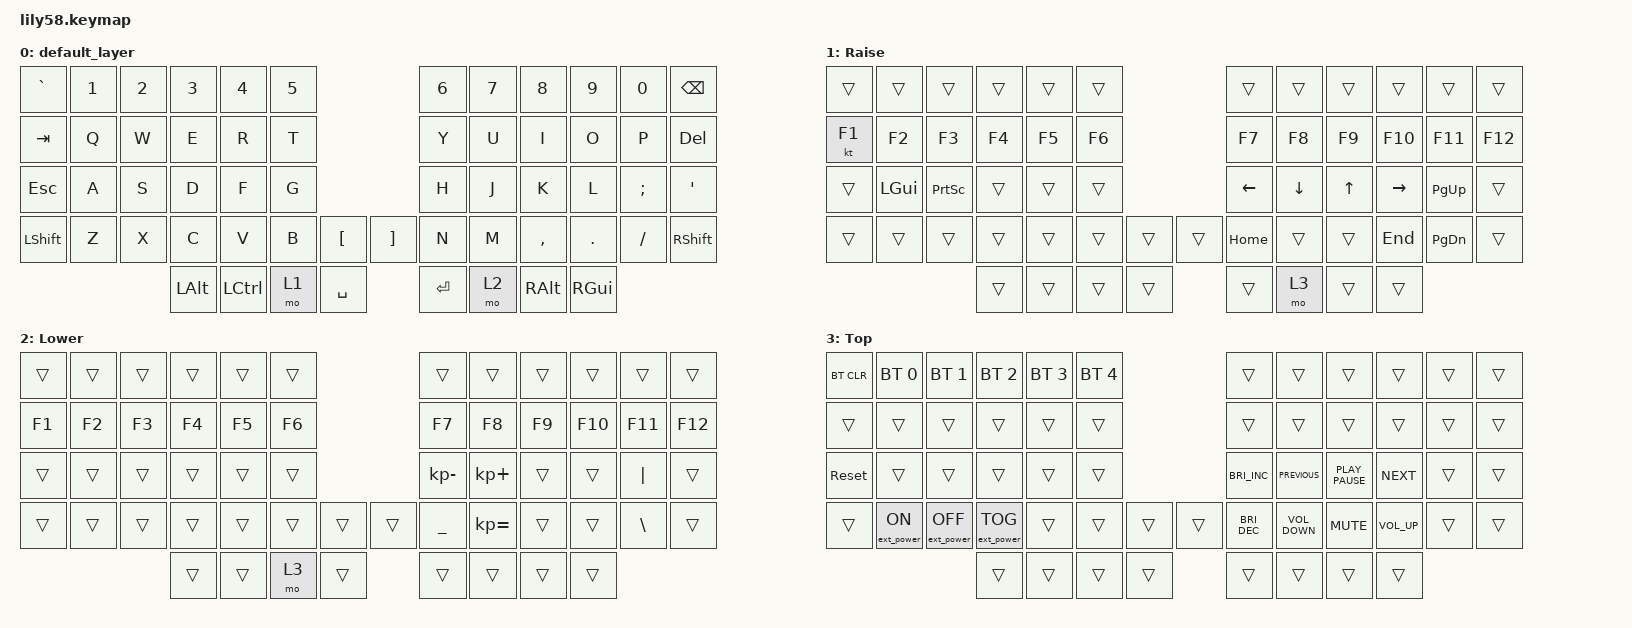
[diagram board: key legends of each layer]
/*
 * Copyright (c) 2020 The ZMK Contributors
 *
 * SPDX-License-Identifier: MIT
 */

#include <behaviors.dtsi>
#include <dt-bindings/zmk/bt.h>
#include <dt-bindings/zmk/ext_power.h>
#include <dt-bindings/zmk/keys.h>
#include <dt-bindings/zmk/keys.h>

/ {
    keymap {
        compatible = "zmk,keymap";

        default_layer {
            // ------------------------------------------------------------------------------------------------------------
            // |  ESC  |  1  |  2  |  3   |  4   |  5   |                   |  6   |  7    |  8    |  9   |   0   |   `   |
            // |  TAB  |  Q  |  W  |  E   |  R   |  T   |                   |  Y   |  U    |  I    |  O   |   P   |   -   |
            // |  CTRL |  A  |  S  |  D   |  F   |  G   |                   |  H   |  J    |  K    |  L   |   ;   |   '   |
            // | SHIFT |  Z  |  X  |  C   |  V   |  B   |   "["  |  |  "]"  |  N   |  M    |  ,    |  .   |   /   | SHIFT |
            //                     | ALT  | GUI  | LOWER|  SPACE |  | ENTER | RAISE| BSPC  | GUI   |

            bindings = <
&kp GRAVE  &kp N1  &kp N2  &kp N3    &kp N4     &kp N5                          &kp N6         &kp N7  &kp N8     &kp N9   &kp N0    &kp BSPC
&kp TAB    &kp Q   &kp W   &kp E     &kp R      &kp T                           &kp Y          &kp U   &kp I      &kp O    &kp P     &kp DEL
&kp ESC    &kp A   &kp S   &kp D     &kp F      &kp G                           &kp H          &kp J   &kp K      &kp L    &kp SEMI  &kp SQT
&kp LSHFT  &kp Z   &kp X   &kp C     &kp V      &kp B   &kp LBKT     &kp RBKT   &kp N          &kp M   &kp COMMA  &kp DOT  &kp FSLH  &kp RSHFT
                           &kp LALT  &kp LCTRL  &mo 1   &kp SPACE    &kp ENTER  &mo 2          &kp RIGHT_ALT &kp RGUI
            >;
        };

        Raise {
            bindings = <
&trans  &trans        &trans           &trans  &trans  &trans                    &trans    &trans    &trans  &trans     &trans     &trans
&kt F1  &kp F2        &kp F3           &kp F4  &kp F5  &kp F6                    &kp F7    &kp F8    &kp F9  &kp F10    &kp F11    &kp F12
&trans  &kp LEFT_GUI  &kp PRINTSCREEN  &trans  &trans  &trans                    &kp LEFT  &kp DOWN  &kp UP  &kp RIGHT  &kp PG_UP  &trans
&trans  &trans        &trans           &trans  &trans  &trans  &trans    &trans  &kp HOME  &trans    &trans  &kp END    &kp PG_DN  &trans
                                       &trans  &trans  &trans  &trans    &trans  &mo 3     &trans    &trans
            >;
        };

        Lower {
            bindings = <
&trans  &trans  &trans  &trans  &trans  &trans                    &trans        &trans        &trans  &trans   &trans         &trans
&kp F1  &kp F2  &kp F3  &kp F4  &kp F5  &kp F6                    &kp F7        &kp F8        &kp F9  &kp F10  &kp F11        &kp F12
&trans  &trans  &trans  &trans  &trans  &trans                    &kp KP_MINUS  &kp KP_PLUS   &trans  &trans   &kp PIPE       &trans
&trans  &trans  &trans  &trans  &trans  &trans  &trans    &trans  &kp UNDER     &kp KP_EQUAL  &trans  &trans   &kp BACKSLASH  &trans
                        &trans  &trans  &mo 3   &trans    &trans  &trans        &trans        &trans
            >;
        };

        Top {
            bindings = <
&bt BT_CLR  &bt BT_SEL 0      &bt BT_SEL 1       &bt BT_SEL 2       &bt BT_SEL 3  &bt BT_SEL 4                    &trans                &trans             &trans            &trans           &trans  &trans
&trans      &trans            &trans             &trans             &trans        &trans                          &trans                &trans             &trans            &trans           &trans  &trans
&sys_reset  &trans            &trans             &trans             &trans        &trans                          &kp C_BRIGHTNESS_INC  &kp K_PREVIOUS     &kp K_PLAY_PAUSE  &kp K_NEXT       &trans  &trans
&trans      &ext_power EP_ON  &ext_power EP_OFF  &ext_power EP_TOG  &trans        &trans        &trans    &trans  &kp C_BRIGHTNESS_DEC  &kp C_VOLUME_DOWN  &kp K_MUTE        &kp C_VOLUME_UP  &trans  &trans
                                                 &trans             &trans        &trans        &trans    &trans  &trans                &trans             &trans
            >;
        };
    };
};
